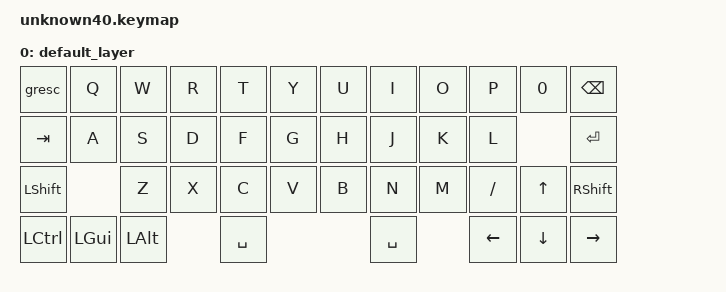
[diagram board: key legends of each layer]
/*
 * Copyright (c) 2021 Nick Winans
 *
 * SPDX-License-Identifier: MIT
 */

#include <behaviors.dtsi>
#include <dt-bindings/zmk/keys.h>
#include <dt-bindings/zmk/bt.h>

/ {
    keymap {
        compatible = "zmk,keymap";

        default_layer {
            bindings = <
&gresc     &kp Q     &kp W     &kp R  &kp T      &kp Y  &kp U  &kp I      &kp O  &kp P      &kp N0    &kp BSPC
&kp TAB    &kp A     &kp S     &kp D  &kp F      &kp G  &kp H  &kp J      &kp K  &kp L                &kp RET
&kp LSHFT            &kp Z     &kp X  &kp C      &kp V  &kp B  &kp N      &kp M  &kp SLASH  &kp UP    &kp RSHFT
&kp LCTRL  &kp LGUI  &kp LALT         &kp SPACE                &kp SPACE         &kp LEFT   &kp DOWN  &kp RIGHT
            >;
        };
    };
};
